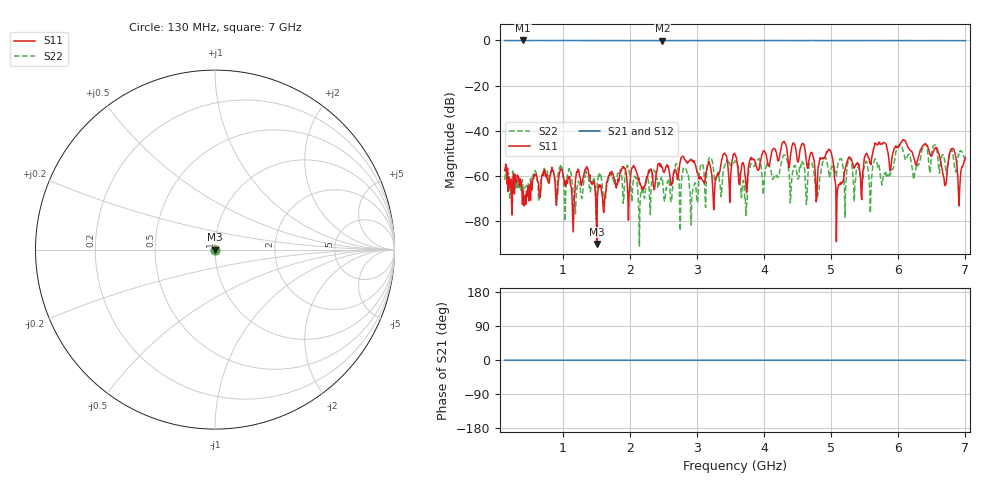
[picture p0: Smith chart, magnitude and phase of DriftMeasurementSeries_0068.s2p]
# Hz S RI R 50.000000
! Metas.Vna.Tools, 2.8.8664.20301
! Metas.Vna.Data, 2.8.8664.20285
! Created: UTC 2024.02.11 10:08:34
! FREQ  re:S1,1  im:S1,1  re:S2,1  im:S2,1  re:S1,2  im:S1,2  re:S2,2  im:S2,2
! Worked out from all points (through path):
!   801 points, 130 MHz to 7 GHz, reference 50 ohm
!   highest |S21| = -0.02 dB at 404.8 MHz (marker M1); lowest = -0.2 dB at 2.483 GHz (marker M2)
!   lowest |S11| = -90.0 dB at 1.504 GHz (marker M3), VSWR 1.00, Z = 50 - j0.00303 ohm
!   |S11| at or under -10 dB: start of sweep to end of sweep
!   |S22| runs from -91.0 to -45.6 dB; largest |S21 - S12| = 0.018
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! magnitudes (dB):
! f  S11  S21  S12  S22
! 130 MHz  -57.5  -0.1  0.0  -61.7
! 404.8 MHz  -66.5  0.0  0.0  -68.2
! 1.281 GHz  -63.4  -0.1  0.0  -70.0
! 1.504 GHz  -90.0  -0.1  0.0  -71.1
! 2.423 GHz  -54.6  -0.1  0.0  -65.3
! 2.483 GHz  -56.1  -0.2  0.0  -61.4
! 3.256 GHz  -69.6  -0.1  0.0  -61.2
! 3.565 GHz  -50.5  -0.1  0.0  -53.4
! 3.711 GHz  -58.9  -0.1  0.0  -70.3
! 3.9 GHz  -57.4  -0.1  0.0  -53.0
! 4.716 GHz  -49.8  -0.1  0.0  -54.8
! 4.784 GHz  -69.5  -0.1  0.0  -67.1
! 4.982 GHz  -48.5  -0.1  0.0  -59.1
! 5.102 GHz  -65.0  -0.1  0.0  -54.0
! 5.265 GHz  -51.6  -0.1  0.0  -53.0
! 5.858 GHz  -52.3  -0.1  0.0  -58.5
! 6.021 GHz  -46.4  -0.1  0.0  -46.0
! 6.236 GHz  -52.2  -0.1  0.0  -60.5
! 6.571 GHz  -47.4  -0.1  0.0  -48.1
! 6.691 GHz  -64.1  -0.1  0.0  -53.2
! 6.794 GHz  -48.0  -0.1  0.0  -48.9
! 7 GHz  -51.8  -0.1  0.0  -52.6
